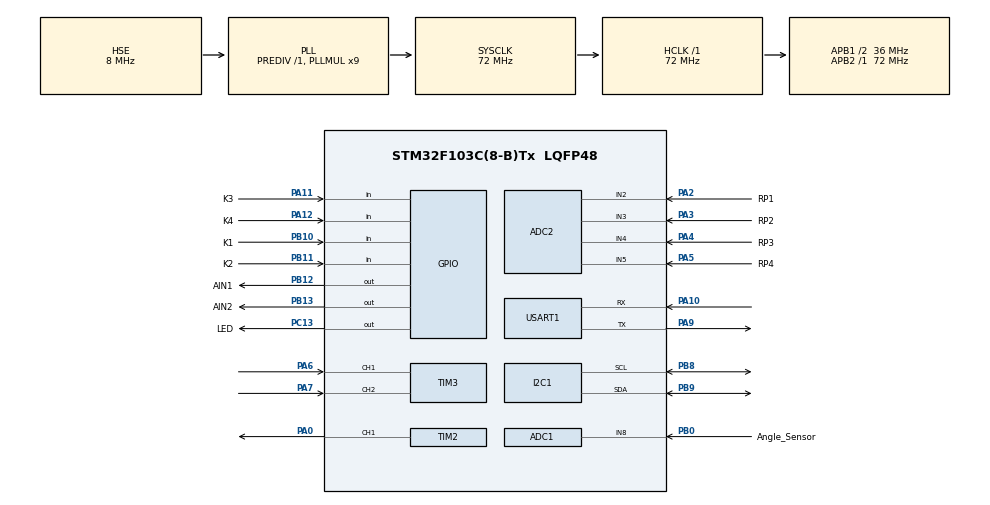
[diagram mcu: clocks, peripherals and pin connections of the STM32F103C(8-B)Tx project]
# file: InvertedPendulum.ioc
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ADC1.Channel-0\#ChannelRegularConversion=ADC_CHANNEL_8
ADC1.ContinuousConvMode=DISABLE
ADC1.NbrOfConversion=1
ADC1.NbrOfConversionFlag=1
ADC1.Rank-0\#ChannelRegularConversion=1
ADC1.SamplingTime-0\#ChannelRegularConversion=ADC_SAMPLETIME_1CYCLE_5
ADC1.master=1
ADC2.Channel-0\#ChannelRegularConversion=ADC_CHANNEL_2
ADC2.NbrOfConversionFlag=1
ADC2.Rank-0\#ChannelRegularConversion=1
ADC2.SamplingTime-0\#ChannelRegularConversion=ADC_SAMPLETIME_1CYCLE_5
Mcu.Family=STM32F1
Mcu.Name=STM32F103C(8-B)Tx
Mcu.Package=LQFP48
NVIC.PriorityGroup=NVIC_PRIORITYGROUP_4
NVIC.TIM1_UP_IRQn=true\:0\:0\:false\:false\:true\:true\:true\:true
PA0-WKUP.Signal=S_TIM2_CH1_ETR
PA10.Mode=Asynchronous
PA10.Signal=USART1_RX
PA11.GPIO_Label=K3
PA11.GPIO_PuPd=GPIO_PULLUP
PA11.Signal=GPIO_Input
PA12.GPIO_Label=K4
PA12.GPIO_PuPd=GPIO_PULLUP
PA12.Signal=GPIO_Input
PA13.Mode=Serial_Wire
PA13.Signal=SYS_JTMS-SWDIO
PA14.Mode=Serial_Wire
PA14.Signal=SYS_JTCK-SWCLK
PA2.GPIO_Label=RP1
PA2.Signal=ADCx_IN2
PA3.GPIO_Label=RP2
PA3.Signal=ADCx_IN3
PA4.GPIO_Label=RP3
PA4.Signal=ADCx_IN4
PA5.GPIO_Label=RP4
PA5.Signal=ADCx_IN5
PA6.Signal=S_TIM3_CH1
PA7.Signal=S_TIM3_CH2
PA9.Mode=Asynchronous
PA9.Signal=USART1_TX
PB0.GPIO_Label=Angle_Sensor
PB0.Signal=ADCx_IN8
PB10.GPIO_Label=K1
PB10.GPIO_PuPd=GPIO_PULLUP
PB10.Signal=GPIO_Input
PB11.GPIO_Label=K2
PB11.GPIO_PuPd=GPIO_PULLUP
PB11.Signal=GPIO_Input
PB12.GPIO_Label=AIN1
PB12.GPIO_Speed=GPIO_SPEED_FREQ_HIGH
PB12.Signal=GPIO_Output
PB13.GPIO_Label=AIN2
PB13.GPIO_Speed=GPIO_SPEED_FREQ_HIGH
PB13.Signal=GPIO_Output
PB8.Mode=I2C
PB8.Signal=I2C1_SCL
PB9.Mode=I2C
PB9.Signal=I2C1_SDA
PC13-TAMPER-RTC.GPIO_Label=LED
PC13-TAMPER-RTC.GPIO_ModeDefaultOutputPP=GPIO_MODE_OUTPUT_PP
PC13-TAMPER-RTC.GPIO_PuPd=GPIO_PULLDOWN
PC13-TAMPER-RTC.GPIO_Speed=GPIO_SPEED_FREQ_HIGH
PC13-TAMPER-RTC.PinState=GPIO_PIN_SET
PC13-TAMPER-RTC.Signal=GPIO_Output
PC14-OSC32_IN.Mode=LSE-External-Oscillator
PC14-OSC32_IN.Signal=RCC_OSC32_IN
PC15-OSC32_OUT.Mode=LSE-External-Oscillator
PC15-OSC32_OUT.Signal=RCC_OSC32_OUT
PD0-OSC_IN.Mode=HSE-External-Oscillator
PD0-OSC_IN.Signal=RCC_OSC_IN
PD1-OSC_OUT.Mode=HSE-External-Oscillator
PD1-OSC_OUT.Signal=RCC_OSC_OUT
ProjectManager.HeapSize=0x200
ProjectManager.StackSize=0x400
ProjectManager.TargetToolchain=CMake
RCC.ADCPresc=RCC_ADCPCLK2_DIV6
RCC.AHBFreq_Value=72000000
RCC.APB1CLKDivider=RCC_HCLK_DIV2
RCC.APB1Freq_Value=36000000
RCC.APB1TimFreq_Value=72000000
RCC.APB2Freq_Value=72000000
RCC.APB2TimFreq_Value=72000000
RCC.HCLKFreq_Value=72000000
RCC.PLLMUL=RCC_PLL_MUL9
RCC.PLLSourceVirtual=RCC_PLLSOURCE_HSE
RCC.SYSCLKFreq_VALUE=72000000
RCC.SYSCLKSource=RCC_SYSCLKSOURCE_PLLCLK
RCC.USBFreq_Value=72000000
SH.ADCx_IN2.0=ADC2_IN2,IN2
SH.ADCx_IN3.0=ADC2_IN3,IN3
SH.ADCx_IN4.0=ADC2_IN4,IN4
SH.ADCx_IN5.0=ADC2_IN5,IN5
SH.ADCx_IN8.0=ADC1_IN8,IN8
SH.S_TIM2_CH1_ETR.0=TIM2_CH1,PWM Generation1 CH1
SH.S_TIM3_CH1.0=TIM3_CH1,Encoder_Interface
SH.S_TIM3_CH2.0=TIM3_CH2,Encoder_Interface
TIM1.Period=999
TIM1.Prescaler=71
TIM1.TIM_MasterOutputTrigger=TIM_TRGO_UPDATE
TIM2.Channel-PWM\ Generation1\ CH1=TIM_CHANNEL_1
TIM2.OC1Preload_PWM=ENABLE
TIM2.OCMode_PWM-PWM\ Generation1\ CH1=TIM_OCMODE_PWM1
TIM2.Period=99
TIM2.Prescaler=35
TIM3.EncoderMode=TIM_ENCODERMODE_TI12
TIM3.IC1Filter=0xF
TIM3.IC2Filter=0xF
USART1.VirtualMode=VM_ASYNC
VP_TIM1_VS_ClockSourceINT.Mode=Internal
board=custom

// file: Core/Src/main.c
/* USER CODE BEGIN Header */
/**
  ******************************************************************************
  * @file           : main.c
  * @brief          : Main program body
  ******************************************************************************
  * @attention
  *
  * Copyright (c) 2025 STMicroelectronics.
  * All rights reserved.
  *
  * This software is licensed under terms that can be found in the LICENSE file
  * in the root directory of this software component.
  * If no LICENSE file comes with this software, it is provided AS-IS.
  *
  ******************************************************************************
  */
/* USER CODE END Header */
#include "main.h"
#include "adc.h"
#include "i2c.h"
#include "tim.h"
#include "usart.h"
#include "gpio.h"

/* USER CODE BEGIN Includes */
#include <math.h>
#include <stdio.h>
#include <string.h>

#include "delay.h"
#include "oled.h"
#include "Key.h"
#include "adc.h"
#include "Encoder.h"
#include "motor.h"
#include "../Inc/pid.h"
/* USER CODE END Includes */

/* USER CODE BEGIN PD */
#define   CENTER_ANGLE          2050
#define   CENTER_RANGE          500
#define   START_LOAD            40
#define   START_TIME            100
#define   START_SAMPLE_TIME     40
/* USER CODE END PD */

/* USER CODE BEGIN PV */
uint8_t Mode,RunState;

uint16_t Angle;
int32_t Location;

PID_T AnglePID={
  .Kp = 0.2,
  .Ki = 0.01,
  .Kd = 0.45,

  .Target = CENTER_ANGLE,
  .Current = 0,
  .Last = 0,
  .Out = 0,
  .Err_Integral = 0,
  .Err_Last = 0,
  .Diff_Last = 0,
  .Flags = 0x02,
  .InputDeadZone_Threshold = 8,
  .Diff_Filter = 0.9,
  .IntegralSeparation_Threshold = 0,
  .VariableIntegral = 0,
  .OutputOffset_Threshold = 0,
  .OutputOffset = 0,
  .Out_Max = 100,
  .Out_Min = -100,
  .Err_Integral_Out_Max = 100,
  .Err_Integral_Out_Min = -100
},LocationPID={
  .Kp = -0.2 ,
  .Ki = -0.00,
  .Kd = -4.0,
  .Target = 0,
  .Current = 0,
  .Last = 0,
  .Out = 0,
  .Err_Integral = 0,
  .Err_Last = 0,
  .Diff_Last = 0,
  .Flags = 0x04,
  .InputDeadZone_Threshold = 5,
  .Diff_Filter = 0.95,
  .IntegralSeparation_Threshold = 0,
  .VariableIntegral = 0,
  .OutputOffset_Threshold = 4,
  .OutputOffset = 1,
  .Out_Max = 100,
  .Out_Min = -100,
  .Err_Integral_Out_Max = 100,
  .Err_Integral_Out_Min = -100
};

//PID_T Speed={0},Location={0};

/* USER CODE END PV */

void SystemClock_Config(void);

/* USER CODE BEGIN 0 */
/**
* @brief    LED控制函数：点亮、熄灭、电平翻转，
* @param    无
* @return   无
*/
void LED_ON(void) {
  HAL_GPIO_WritePin(LED_GPIO_Port, LED_Pin,GPIO_PIN_RESET);
}
void LED_OFF(void) {
  HAL_GPIO_WritePin(LED_GPIO_Port, LED_Pin,GPIO_PIN_SET);
}
void LED_Turn(void) {
  if (HAL_GPIO_ReadPin(LED_GPIO_Port, LED_Pin) == GPIO_PIN_SET)
    LED_ON();
  else
    LED_OFF();
}
/* USER CODE END 0 */

int main(void)
{

  /* MCU Configuration--------------------------------------------------------*/

  /* Reset of all peripherals, Initializes the Flash interface and the Systick. */
  HAL_Init();

  /* Configure the system clock */
  SystemClock_Config();

  /* Initialize all configured peripherals */
  MX_GPIO_Init();
  MX_I2C1_Init();
  MX_ADC2_Init();
  MX_TIM1_Init();
  MX_TIM2_Init();
  MX_TIM3_Init();
  MX_USART1_UART_Init();
  MX_ADC1_Init();
  /* USER CODE BEGIN 2 */
  OLED_Init();
  Motor_Init();
  Encoder_Init();
  HAL_UART_Init(&huart1);
  HAL_TIM_Base_Start_IT(&htim1);
  /* USER CODE END 2 */

  /* Infinite loop */
  /* USER CODE BEGIN WHILE */
  /** 定速电机测试 **/
  {
    // Speed.Flags = 0x00;
    // Speed.Out_Max = 100;
    // Speed.Out_Min = -100;
    // Speed.Err_Integral_Out_Max = 100;
    // Speed.Err_Integral_Out_Min = -100;
    // Location.Flags = 0x00;
    // Location.Out_Max = 100;
    // Location.Out_Min = -100;
    // Location.Err_Integral_Out_Max = 100;
    // Location.Err_Integral_Out_Min = -100;
  }
  char display_buf[128]={0};

  while (1)
  {
    /** 定速电机测试 **/
     {
    //   switch (Key_Getkey()) {
    //     case 1:Mode = 1;break;
    //     case 2:Mode = 2;break;
    //     case 3:Mode = 3;Location.Current = 0;Location.Err_Integral = 0;Speed.Err_Integral = 0;break;
    //     case 4:Mode = 4;break;
    //   }
    //   /* 速度控制 */
    //   if (Mode == 1) {
    //     Speed.Kp = RP_GetValue(1) / 4096.0 * 5.0;
    //     Speed.Ki = RP_GetValue(2) / 4096.0 * 1.0;
    //     Speed.Kd = RP_GetValue(3) / 4096.0 * 1.5;
    //     Speed.Target = RP_GetValue(4) * 90 / 4096.0  - 45;
    //     sprintf(display_buf,"kp:%4.3f",Speed.Kp);
    //     OLED_ShowString(0,0,display_buf,8);
    //     sprintf(display_buf,"ki:%4.3f",Speed.Ki);
    //     OLED_ShowString(0,16,display_buf,8);
    //     sprintf(display_buf,"kd:%4.3f",Speed.Kd);
    //     OLED_ShowString(0,32,display_buf,8);
    //     sprintf(display_buf,"t:%03.1f",Speed.Target);
    //     OLED_ShowString(64,0,display_buf,8);
    //     //实际速度-40~40
    //     sprintf(display_buf,"n:%03.1f",Speed.Current);
    //     OLED_ShowString(64,16,display_buf,8);
    //     sprintf(display_buf,"o:%03.1f ",Speed.Out);
    //     OLED_ShowString(64,32,display_buf,8);
    //     sprintf(display_buf,":%.1f,%.1f,%.1f\r\n",Speed.Target,Speed.Current,Speed.Out);
    //     //卧槽，绷不住了，这里Speed Control字符串多加两个空格会使pid控制紊乱
    //     OLED_ShowString(0,48,"Speed Control   ",8);
    //   }else if (Mode == 2) {
    //     /*位置控制*/
    //     Location.Kp = RP_GetValue(1) / 4096.0 * 5.0;
    //     Location.Ki = RP_GetValue(2) / 4096.0 * 1.0;
    //     Location.Kd = RP_GetValue(3) / 4096.0 * 1.5;
    //     Location.Target = RP_GetValue(4) * 426 / 4096.0  - 213;
    //     sprintf(display_buf,"kp:%4.3f",Location.Kp);
    //     OLED_ShowString(0,0,display_buf,8);
    //     sprintf(display_buf,"ki:%4.3f",Location.Ki);
    //     OLED_ShowString(0,16,display_buf,8);
    //     sprintf(display_buf,"kd:%4.3f",Location.Kd);
    //     OLED_ShowString(0,32,display_buf,8);
    //     sprintf(display_buf,"t:%03.1f",Location.Target);
    //     OLED_ShowString(64,0,display_buf,8);
    //     //实际速度-40~40
    //     sprintf(display_buf,"n:%03.1f",Location.Current);
    //     OLED_ShowString(64,16,display_buf,8);
    //     sprintf(display_buf,"o:%03.1f ",Location.Out);
    //     OLED_ShowString(64,32,display_buf,8);
    //     sprintf(display_buf,":%.1f,%.1f,%.1f\r\n",Location.Target,Location.Current,Location.Out);
    //     OLED_ShowString(0,48,"Pos Ctrl",8);
    //   }
    //   else if (Mode == 3) {
    //     /*双环位置控制*/
    //     Location.Target = RP_GetValue(4) * 430 / 4096.0  - 215;
    //     sprintf(display_buf,"kp:%4.3f",Speed.Kp);
    //     OLED_ShowString(0,0,display_buf,8);
    //     sprintf(display_buf,"ki:%4.3f",Speed.Ki);
    //     OLED_ShowString(0,16,display_buf,8);
    //     sprintf(display_buf,"kd:%4.3f",Speed.Kd);
    //     OLED_ShowString(0,32,display_buf,8);
    //     sprintf(display_buf,"kp:%4.3f",Location.Kp);
    //     OLED_ShowString(64,0,display_buf,8);
    //     sprintf(display_buf,"ki:%4.3f",Location.Ki);
    //     OLED_ShowString(64,16,display_buf,8);
    //     sprintf(display_buf,"kd:%4.3f",Location.Kd);
    //     OLED_ShowString(64,32,display_buf,8);
    //     sprintf(display_buf,":%.1f,%.1f,%.1f\r\n",Location.Target,Location.Current,Location.Out);
    //     OLED_ShowString(0,48,"2*Pos Ctrl",8);
    //   }
    //   OLED_UpdateScreen(0,8);
    //   HAL_UART_Transmit(&huart1,display_buf,strlen(display_buf),100);
     }
    /** 倒立摆实验 **/
     {
       switch (Key_Getkey()) {
         case 1:RunState = !RunState;AnglePID.Err_Integral = 0;LocationPID.Err_Integral=0;break;
         case 2: Mode = 1;break;
         case 3: Mode = 2;break;
         case 4: RunState = 7;break;
       }
       if (RunState&&HAL_GPIO_ReadPin(LED_GPIO_Port,LED_Pin))LED_Turn();
       else if (!RunState)LED_OFF();
       if (Mode == 1) {
          AnglePID.Kp = RP_GetValue(1) / 4096.0 * 2.0;
          AnglePID.Ki = RP_GetValue(2) / 4096.0 * 1.0;
          AnglePID.Kd = RP_GetValue(3) / 4096.0 * 1.5;
       }else if (Mode == 2) {
          LocationPID.Kp = -RP_GetValue(1) / 4096.0 * 4.0;
          LocationPID.Ki = RP_GetValue(2) / 4096.0 * 1.0;
          LocationPID.Kd = -RP_GetValue(3) / 4096.0 * 10;
       }
       LocationPID.Target = RP_GetValue(4) / 8;
       OLED_Print(0,0,6,"Angle");
       OLED_Print(0,12,6,"kp:%4.3f",AnglePID.Kp);
       OLED_Print(0,20,6,"ki:%4.3f",AnglePID.Ki);
       OLED_Print(0,28,6,"kd:%4.3f",AnglePID.Kd);
       OLED_Print(0,40,6,"tar:%04.0f",AnglePID.Target);
       OLED_Print(0,48,6,"cur:%04d",Angle);
       OLED_Print(0,56,6,"out:%03.1f ",AnglePID.Out);
       OLED_Print(64,0,6,"Location");
       OLED_Print(64,12,6,"kp:%4.3f",LocationPID.Kp);
       OLED_Print(64,20,6,"ki:%4.3f",LocationPID.Ki);
       OLED_Print(64,28,6,"kd:%4.3f",LocationPID.Kd);
       OLED_Print(64,40,6,"tar:%+04.0f",LocationPID.Target);
       OLED_Print(64,48,6,"cur:%+04d",Location);
       OLED_Print(64,56,6,"out:%03.1f ",LocationPID.Out);
       sprintf(display_buf,":%.1f,%d,%.1f\r\n",LocationPID.Target,Location,LocationPID.Out);
       OLED_UpdateScreen(0,8);
       HAL_UART_Transmit(&huart1,display_buf,sizeof(display_buf),100);
     }
    /* USER CODE END WHILE */

  }
}

void SystemClock_Config(void)
{
  RCC_OscInitTypeDef RCC_OscInitStruct = {0};
  RCC_ClkInitTypeDef RCC_ClkInitStruct = {0};
  RCC_PeriphCLKInitTypeDef PeriphClkInit = {0};

  /** Initializes the RCC Oscillators according to the specified parameters
  * in the RCC_OscInitTypeDef structure.
  */
  RCC_OscInitStruct.OscillatorType = RCC_OSCILLATORTYPE_HSE;
  RCC_OscInitStruct.HSEState = RCC_HSE_ON;
  RCC_OscInitStruct.HSEPredivValue = RCC_HSE_PREDIV_DIV1;
  RCC_OscInitStruct.HSIState = RCC_HSI_ON;
  RCC_OscInitStruct.PLL.PLLState = RCC_PLL_ON;
  RCC_OscInitStruct.PLL.PLLSource = RCC_PLLSOURCE_HSE;
  RCC_OscInitStruct.PLL.PLLMUL = RCC_PLL_MUL9;
  if (HAL_RCC_OscConfig(&RCC_OscInitStruct) != HAL_OK)
  {
    Error_Handler();
  }

  /** Initializes the CPU, AHB and APB buses clocks
  */
  RCC_ClkInitStruct.ClockType = RCC_CLOCKTYPE_HCLK|RCC_CLOCKTYPE_SYSCLK
                              |RCC_CLOCKTYPE_PCLK1|RCC_CLOCKTYPE_PCLK2;
  RCC_ClkInitStruct.SYSCLKSource = RCC_SYSCLKSOURCE_PLLCLK;
  RCC_ClkInitStruct.AHBCLKDivider = RCC_SYSCLK_DIV1;
  RCC_ClkInitStruct.APB1CLKDivider = RCC_HCLK_DIV2;
  RCC_ClkInitStruct.APB2CLKDivider = RCC_HCLK_DIV1;

  if (HAL_RCC_ClockConfig(&RCC_ClkInitStruct, FLASH_LATENCY_2) != HAL_OK)
  {
    Error_Handler();
  }
  PeriphClkInit.PeriphClockSelection = RCC_PERIPHCLK_ADC;
  PeriphClkInit.AdcClockSelection = RCC_ADCPCLK2_DIV6;
  if (HAL_RCCEx_PeriphCLKConfig(&PeriphClkInit) != HAL_OK)
  {
    Error_Handler();
  }
}

/* USER CODE BEGIN 4 */
/**
 * @brief 定时器更新中断回调函数
 * @param htim: 定时器句柄指针
 */
void HAL_TIM_PeriodElapsedCallback(TIM_HandleTypeDef *htim){
  /** 定速电机控制 **/
  {
    // static uint8_t count1=0,count2=0,count3=0;
    // if (htim->Instance == TIM1){
    //   count1 ++;
    //   Key_Tick();
    //   if (count1>=10){
    //     count1=0;
    //     if (Mode == 1){
    //       Speed.Current = ReadSpeed();
    //       PID_Update(&Speed);
    //       Load(Speed.Out);
    //     }
    //     else if (Mode == 2) {
    //       Location.Current += ReadSpeed();
    //       PID_Update(&Location);
    //       Load(Location.Out);
    //     }
    //   }
    //
    //   /**双环pid控制**/
    //   if (Mode == 3) {
    //     count2 ++;
    //     count3 ++;
    //     //内环——速度环
    //     if (count2 >=10) {
    //       count2=0;
    //       Speed.Current = ReadSpeed();
    //       Location.Current+=Speed.Current;
    //       PID_Update(&Speed);
    //       Load(Speed.Out);
    //     }
    //     //外环——位置环
    //     if (count3 >=15) {
    //       count3=0;
    //       PID_Update(&Location);
    //       Speed.Target = Location.Out;
    //       //外环输出限幅，可以控制转动速度大小快慢
    //       Speed.Target = Speed.Target>40?40:(Speed.Target<-40?-40:Speed.Target);
    //     }
    //
    //   }
    // }
  }
  /** 倒立摆实验 **/
  static uint8_t count_key=0,count_inner=0,count_outer=0,count_time=0,sample_time=START_SAMPLE_TIME;
  static uint16_t Angle_Sample[3]={0};
  if (htim->Instance == TIM1) {
    count_key++;
    if (count_key >= 10) {
      count_key = 0;
      Key_Tick();
    }
    Angle = Angle_GetValue();
    Location += ReadSpeed();
    if (RunState==0) {
      Location = 0;
      Load(0);
    }
    else if (RunState == 1) {
      sample_time--;
      if (!sample_time) {
        if (fabs(Angle - CENTER_ANGLE)<=CENTER_RANGE/2) {
          RunState = 2;
          Location = 0;
          return;
        }
        sample_time = START_SAMPLE_TIME;
        Angle_Sample[0] = Angle_Sample[1];
        Angle_Sample[1] = Angle_Sample[2];
        Angle_Sample[2] = Angle;
        if (Angle_Sample[1]<Angle_Sample[2]
          &&Angle_Sample[1]<Angle_Sample[0]
          &&Angle_Sample[0]>CENTER_ANGLE+CENTER_RANGE/2
          &&Angle_Sample[1]>CENTER_ANGLE+CENTER_RANGE/2
          &&Angle_Sample[2]>CENTER_ANGLE+CENTER_RANGE/2) RunState = 3;
        else if (Angle_Sample[1]>Angle_Sample[2]
          &&Angle_Sample[1]>Angle_Sample[0]
          &&Angle_Sample[0]<CENTER_ANGLE-CENTER_RANGE/2
          &&Angle_Sample[1]<CENTER_ANGLE-CENTER_RANGE/2
          &&Angle_Sample[2]<CENTER_ANGLE-CENTER_RANGE/2) RunState = 7;
        }
      }
    else if (RunState == 2) {
      if (!(fabs(Angle - CENTER_ANGLE)<=CENTER_RANGE*2)) {
        RunState = 0;
        return;
      }
      count_inner++;
      count_outer++;
      //内环调控周期5ms
      if (count_inner>=5) {
        count_inner = 0;
        AnglePID.Current = Angle;
        PID_Update(&AnglePID);
        Load(AnglePID.Out);
      }
      if (count_outer>=50) {
        count_outer = 0;
        LocationPID.Current = Location;
        PID_Update(&LocationPID);
        AnglePID.Target = CENTER_ANGLE + LocationPID.Out;
      }
    }
    else if (RunState == 3) {
      Load(START_LOAD);
      count_time=START_TIME;
      RunState=4;
    }
    else if (RunState == 4) {
      count_time--;
      if (!count_time) {RunState=5;}
    }
    else if (RunState == 5) {
      Load(-START_LOAD);
      count_time=START_TIME;
      RunState=6;
    }
    else if (RunState == 6) {
      count_time--;
      if (!count_time) {
        RunState=1;
        Load(0);
      }
    }
    else if (RunState == 7) {
      Load(-START_LOAD);
      count_time=START_TIME;
      RunState=8;
    }
    else if (RunState == 8) {
      count_time--;
      if (!count_time) {RunState=9;}
    }
    else if (RunState == 9) {
      Load(START_LOAD);
      count_time=START_TIME;
      RunState=10;
    }
    else if (RunState == 10) {
      count_time--;
      if (!count_time) {
        Load(0);
        RunState=1;
      }
    }
  }
}
/* USER CODE END 4 */

void Error_Handler(void)
{
  __disable_irq();
  while (1)
  {
  }
}
